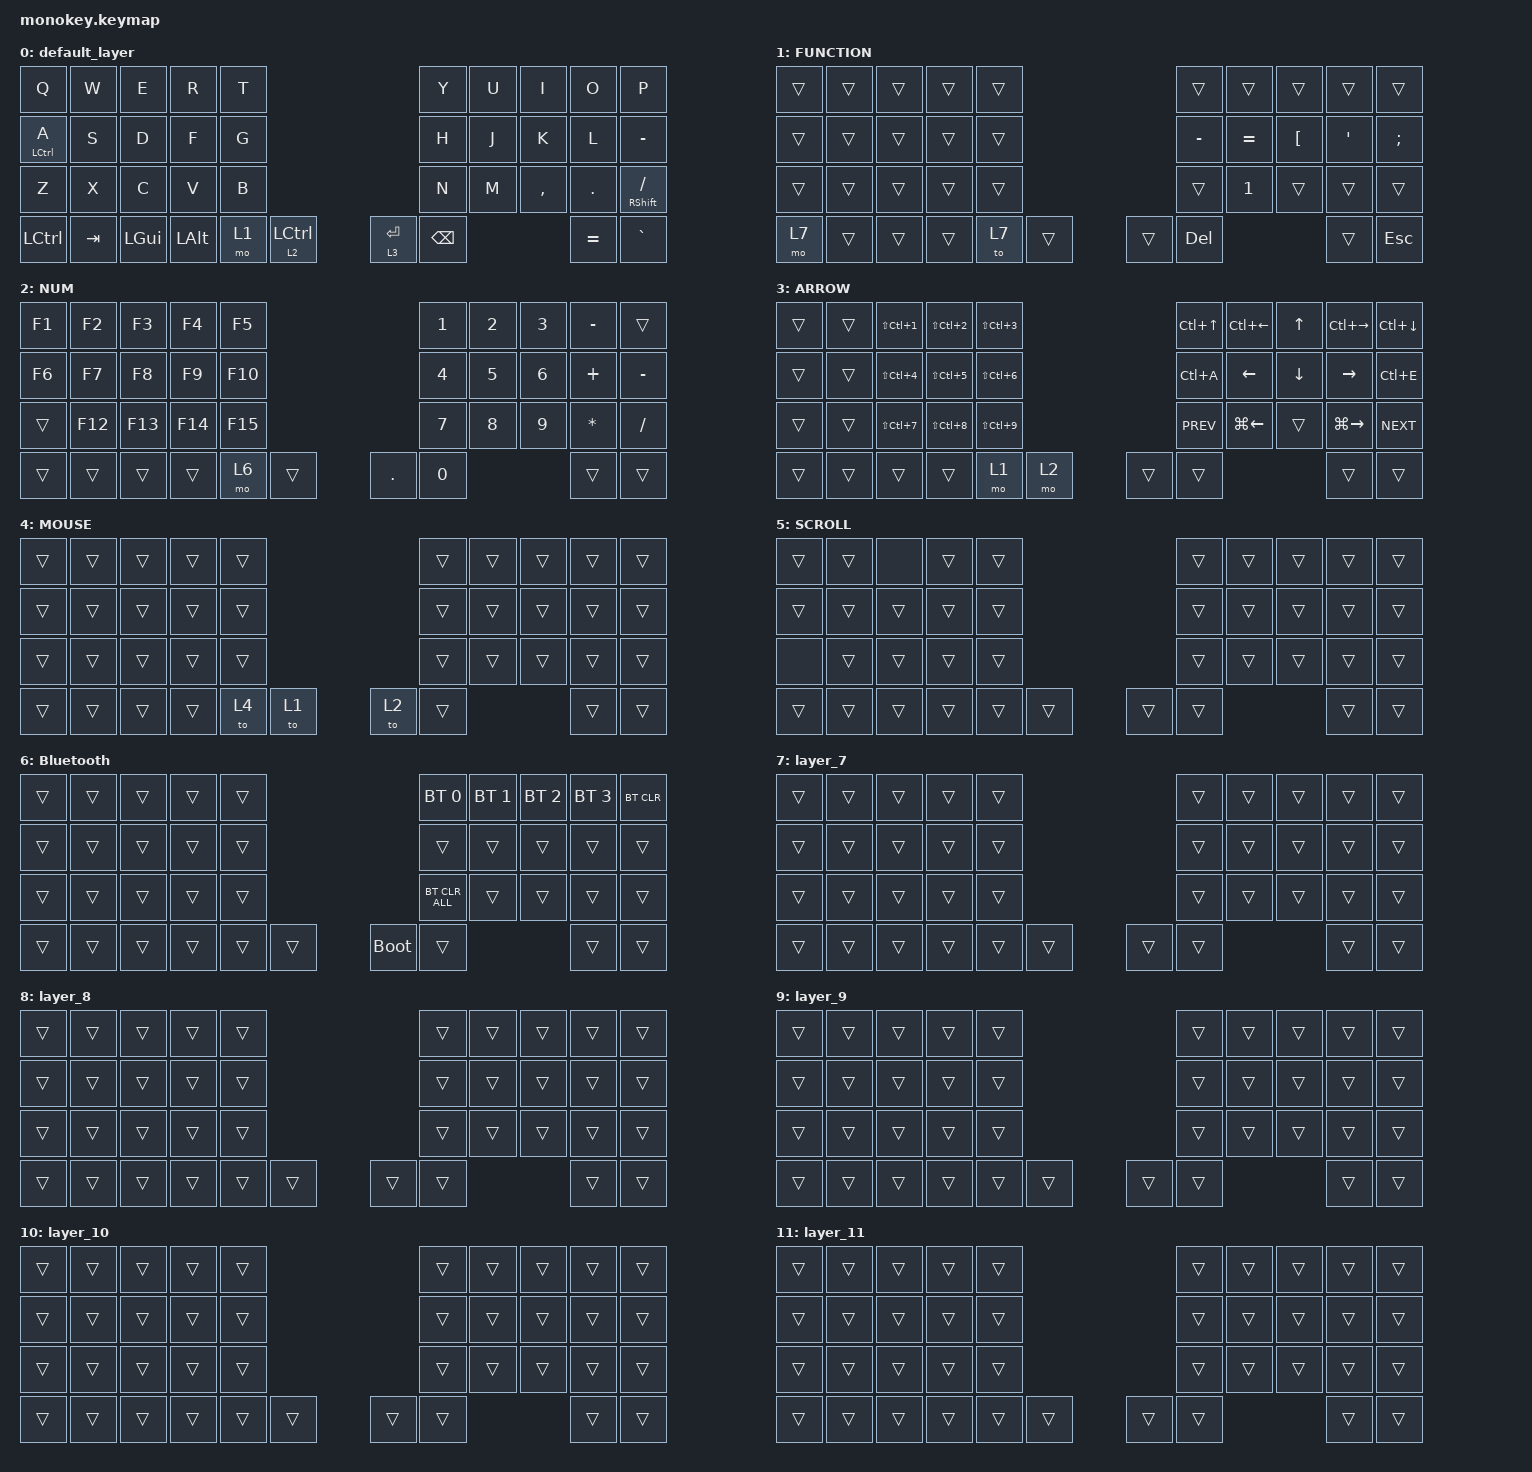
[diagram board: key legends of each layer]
#include <behaviors.dtsi>
#include <dt-bindings/zmk/bt.h>
#include <dt-bindings/zmk/keys.h>

#define MOUSE 4
#define SCROLL 5
#define NUM 6

&mt {
    flavor = "balanced";
    quick-tap-ms = <175>;
};

&lt { quick-tap-ms = <175>; };

/ {
    /* * 必要に応じてコンボ設定などをここに追加してください。
     * JSONデータにはコンボ情報が含まれていないため、初期設定のスクロール用コンボのみ残しています。
     */

    combos {
        compatible = "zmk,combos";

        scroll {
            bindings = <&mo 5>;
            key-positions = <17 18>;
        };

        mouse_layer {
            bindings = <&to 4>;
            key-positions = <16 36>;
        };
    };

    keymap {
        compatible = "zmk,keymap";

        default_layer {
            bindings = <
&kp Q        &kp W    &kp E     &kp R     &kp T                            &kp Y     &kp U  &kp I      &kp O      &kp P
&mt LCTRL A  &kp S    &kp D     &kp F     &kp G                            &kp H     &kp J  &kp K      &kp L      &kp MINUS
&kp Z        &kp X    &kp C     &kp V     &kp B                            &kp N     &kp M  &kp COMMA  &kp DOT    &mt RSHIFT SLASH
&kp LCTRL    &kp TAB  &kp LGUI  &kp LALT  &mo 1  &lt 2 LCTRL  &lt 3 ENTER  &kp BSPC                    &kp EQUAL  &kp GRAVE
            >;
        };

        FUNCTION {
            bindings = <
&trans  &trans  &trans  &trans  &trans                  &trans     &trans     &trans    &trans   &trans
&trans  &trans  &trans  &trans  &trans                  &kp MINUS  &kp EQUAL  &kp LBKT  &kp SQT  &kp SEMI
&trans  &trans  &trans  &trans  &trans                  &trans     &kp N1     &trans    &trans   &trans
&mo 7   &trans  &trans  &trans  &to 7   &trans  &trans  &kp DEL                         &trans   &kp ESC
            >;
        };

        NUM {
            bindings = <
&kp F1  &kp F2   &kp F3   &kp F4   &kp F5                    &kp N1  &kp N2  &kp N3  &kp MINUS  &trans
&kp F6  &kp F7   &kp F8   &kp F9   &kp F10                   &kp N4  &kp N5  &kp N6  &kp PLUS   &kp MINUS
&trans  &kp F12  &kp F13  &kp F14  &kp F15                   &kp N7  &kp N8  &kp N9  &kp STAR   &kp SLASH
&trans  &trans   &trans   &trans   &mo 6    &trans  &kp DOT  &kp N0                  &trans     &trans
            >;
        };

        ARROW {
            bindings = <
&trans  &trans  &kp LS(LC(N1))  &kp LS(LC(N2))  &kp LS(LC(N3))                 &kp LC(UP)  &kp LC(LEFT)  &kp UP    &kp LC(RIGHT)  &kp LC(DOWN)
&trans  &trans  &kp LS(LC(N4))  &kp LS(LC(N5))  &kp LS(LC(N6))                 &kp LC(A)   &kp LEFT      &kp DOWN  &kp RIGHT      &kp LC(E)
&trans  &trans  &kp LS(LC(N7))  &kp LS(LC(N8))  &kp LS(LC(N9))                 &kp C_PREV  &kp LG(LEFT)  &trans    &kp LG(RIGHT)  &kp C_NEXT
&trans  &trans  &trans          &trans          &mo 1           &mo 2  &trans  &trans                              &trans         &trans
            >;
        };

        MOUSE {
            bindings = <
&trans  &trans  &trans  &trans  &trans                &trans  &trans  &trans  &trans  &trans
&trans  &trans  &trans  &trans  &trans                &trans  &trans  &trans  &trans  &trans
&trans  &trans  &trans  &trans  &trans                &trans  &trans  &trans  &trans  &trans
&trans  &trans  &trans  &trans  &to 4   &to 1  &to 2  &trans                  &trans  &trans
            >;
        };

        SCROLL {
            bindings = <
&trans  &trans  &none   &trans  &trans                  &trans  &trans  &trans  &trans  &trans
&trans  &trans  &trans  &trans  &trans                  &trans  &trans  &trans  &trans  &trans
&none   &trans  &trans  &trans  &trans                  &trans  &trans  &trans  &trans  &trans
&trans  &trans  &trans  &trans  &trans  &trans  &trans  &trans                  &trans  &trans
            >;
        };

        Bluetooth {
            bindings = <
&trans  &trans  &trans  &trans  &trans                       &bt BT_SEL 0    &bt BT_SEL 1  &bt BT_SEL 2  &bt BT_SEL 3  &bt BT_CLR
&trans  &trans  &trans  &trans  &trans                       &trans          &trans        &trans        &trans        &trans
&trans  &trans  &trans  &trans  &trans                       &bt BT_CLR_ALL  &trans        &trans        &trans        &trans
&trans  &trans  &trans  &trans  &trans  &trans  &bootloader  &trans                                      &trans        &trans
            >;
        };

        layer_7 {
            bindings = <
&trans  &trans  &trans  &trans  &trans                  &trans  &trans  &trans  &trans  &trans
&trans  &trans  &trans  &trans  &trans                  &trans  &trans  &trans  &trans  &trans
&trans  &trans  &trans  &trans  &trans                  &trans  &trans  &trans  &trans  &trans
&trans  &trans  &trans  &trans  &trans  &trans  &trans  &trans                  &trans  &trans
            >;
        };

        layer_8 {
            bindings = <
&trans  &trans  &trans  &trans  &trans                  &trans  &trans  &trans  &trans  &trans
&trans  &trans  &trans  &trans  &trans                  &trans  &trans  &trans  &trans  &trans
&trans  &trans  &trans  &trans  &trans                  &trans  &trans  &trans  &trans  &trans
&trans  &trans  &trans  &trans  &trans  &trans  &trans  &trans                  &trans  &trans
            >;
        };

        layer_9 {
            bindings = <
&trans  &trans  &trans  &trans  &trans                  &trans  &trans  &trans  &trans  &trans
&trans  &trans  &trans  &trans  &trans                  &trans  &trans  &trans  &trans  &trans
&trans  &trans  &trans  &trans  &trans                  &trans  &trans  &trans  &trans  &trans
&trans  &trans  &trans  &trans  &trans  &trans  &trans  &trans                  &trans  &trans
            >;
        };

        layer_10 {
            bindings = <
&trans  &trans  &trans  &trans  &trans                  &trans  &trans  &trans  &trans  &trans
&trans  &trans  &trans  &trans  &trans                  &trans  &trans  &trans  &trans  &trans
&trans  &trans  &trans  &trans  &trans                  &trans  &trans  &trans  &trans  &trans
&trans  &trans  &trans  &trans  &trans  &trans  &trans  &trans                  &trans  &trans
            >;
        };

        layer_11 {
            bindings = <
&trans  &trans  &trans  &trans  &trans                  &trans  &trans  &trans  &trans  &trans
&trans  &trans  &trans  &trans  &trans                  &trans  &trans  &trans  &trans  &trans
&trans  &trans  &trans  &trans  &trans                  &trans  &trans  &trans  &trans  &trans
&trans  &trans  &trans  &trans  &trans  &trans  &trans  &trans                  &trans  &trans
            >;
        };
    };
};
